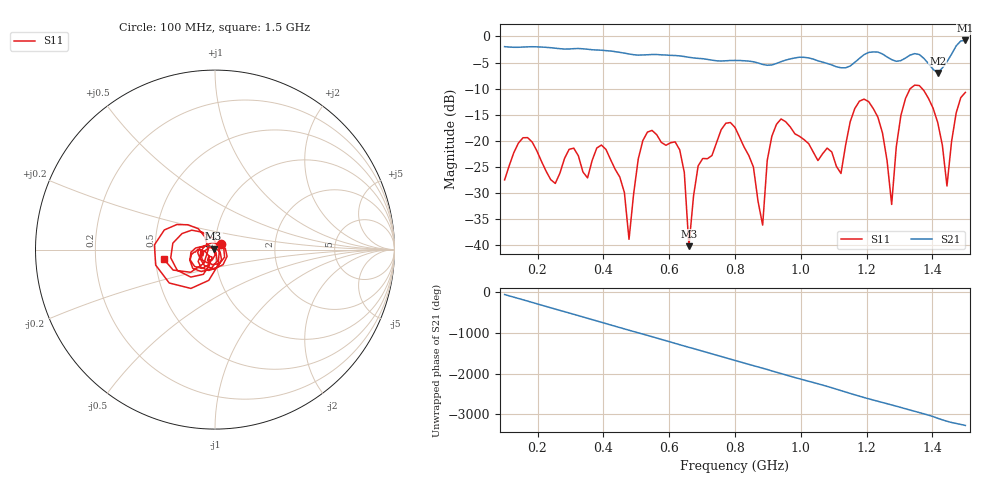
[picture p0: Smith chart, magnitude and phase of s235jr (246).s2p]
! NanoVNA-App
! Date: 2025-09-25 15:06:04
! Start: 100MHz Stop: 1,5GHz Points: 101
! S-Parameter data: F S11 S21 S12 S22
# Hz S RI R 50
!  Frequency  S11_Real  S11_Imag  S21_Real  S21_Imag  S12_Real  S12_Imag  S22_Real  S22_Imag
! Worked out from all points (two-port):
!   101 points, 100 MHz to 1.5 GHz, reference 50 ohm
!   highest |S21| = -0.78 dB at 1.5 GHz (marker M1); lowest = -7.0 dB at 1.416 GHz (marker M2)
!   |S21| within 3 dB of the highest: start of sweep to 636.9 MHz; 1.187 GHz to 1.258 GHz (71.65 MHz wide, 5.86 % of centre) (the widest 2 of 4)
!   lowest |S11| = -40.2 dB at 660 MHz (marker M3), VSWR 1.02, Z = 49.2 + j0.547 ohm
!   |S11| at or under -10 dB: start of sweep to 1.332 GHz; 1.369 GHz to end of sweep
!   S12 and S22 are empty: the file has one direction only
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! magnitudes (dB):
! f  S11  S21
! 100 MHz  -27.5  -2.0
! 156 MHz  -19.4  -2.0
! 338 MHz  -26.0  -2.4
! 408 MHz  -21.6  -2.7
! 478 MHz  -38.8  -3.4
! 520 MHz  -19.9  -3.5
! 576 MHz  -20.3  -3.5
! 632 MHz  -21.7  -3.7
! 660 MHz  -40.2  -4.0
! 688 MHz  -24.8  -4.2
! 800 MHz  -17.4  -4.6
! 884 MHz  -36.1  -5.4
! 898 MHz  -23.7  -5.5
! 926 MHz  -16.8  -5.2
! 1.038 GHz  -22.2  -4.4
! 1.122 GHz  -26.2  -6.0
! 1.206 GHz  -12.5  -3.1
! 1.276 GHz  -32.2  -4.4
! 1.332 GHz  -10.0  -3.6
! 1.416 GHz  -16.5  -7.0
! 1.444 GHz  -28.6  -4.8
! 1.5 GHz  -10.7  -0.8
